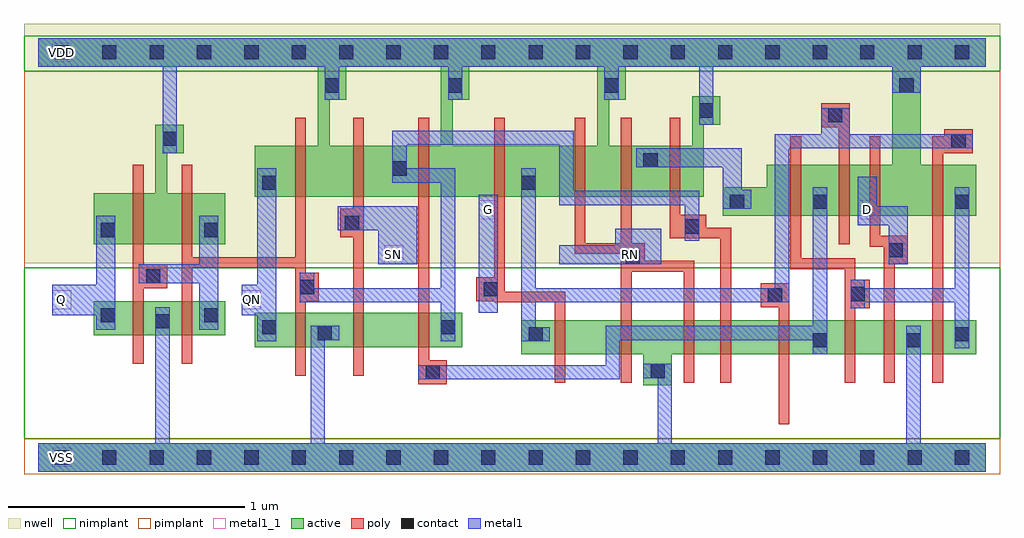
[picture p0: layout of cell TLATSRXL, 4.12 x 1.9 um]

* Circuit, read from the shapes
.subckt TLATSRXL D G Q QN RN SN VDD VSS
M1 VSS n1 Q VSS nfet w=0.145u l=0.045u
M2 n1 n2 VSS VSS nfet w=0.145u l=0.045u
M3 VSS n2 QN VSS nfet w=0.145u l=0.045u
M4 n3 SN VSS VSS nfet w=0.145u l=0.045u
M5 n2 n4 n3 VSS nfet w=0.145u l=0.045u
M6 n5 G n6 VSS nfet w=0.145u l=0.045u
M7 VSS RN n5 VSS nfet w=0.145u l=0.045u
M8 n7 RN VSS VSS nfet w=0.145u l=0.045u
M9 n8 n2 n7 VSS nfet w=0.145u l=0.045u
M10 n4 n6 n8 VSS nfet w=0.145u l=0.045u
M11 n9 n10 n4 VSS nfet w=0.145u l=0.045u
M12 VSS D n9 VSS nfet w=0.145u l=0.045u
M13 n10 n6 VSS VSS nfet w=0.145u l=0.045u
M14 VDD n1 Q VDD pfet w=0.215u l=0.045u
M15 n1 n2 VDD VDD pfet w=0.215u l=0.045u
M16 VDD n2 QN VDD pfet w=0.215u l=0.045u
M17 n2 SN VDD VDD pfet w=0.215u l=0.045u
M18 VDD n4 n2 VDD pfet w=0.215u l=0.045u
M19 n6 G VDD VDD pfet w=0.215u l=0.045u
M20 VDD RN n6 VDD pfet w=0.215u l=0.045u
M21 n11 RN VDD VDD pfet w=0.215u l=0.045u
M22 VDD n2 n11 VDD pfet w=0.215u l=0.045u
M23 n4 n10 n11 VDD pfet w=0.215u l=0.045u
M24 n12 n6 n4 VDD pfet w=0.215u l=0.045u
M25 VDD D n12 VDD pfet w=0.215u l=0.045u
M26 n10 n6 VDD VDD pfet w=0.215u l=0.045u
.ends

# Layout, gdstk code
import gdstk
lib = gdstk.Library(unit=1e-6, precision=5e-10)
def R(c, l, rs):  # rectangles x0, y0, x1, y1
    for r in rs: c.add(gdstk.rectangle(r[:2], r[2:], *l))
def A(c, l, x, y, w, h, nx, ny, dx, dy):  # array of equal rectangles
    R(c, l, [(x+i*dx, y+j*dy, x+i*dx+w, y+j*dy+h) for i in range(nx) for j in range(ny)])
def P(c, l, *ps):  # polygons
    for p in ps: c.add(gdstk.Polygon(p, *l))
active = (1, 0)
nwell = (2, 0)
poly = (3, 0)
nimplant = (4, 0)
pimplant = (5, 0)
contact = (6, 0)
metal1 = (7, 0)
metal1_1 = (7, 1)

tlatsrxl = lib.new_cell('TLATSRXL')
R(tlatsrxl, active, [(0,-0.06,4,0.06), (0.915,0.465,1.79,0.61), (0.235,0.515,0.79,0.66)])
P(tlatsrxl, active, [(0,1.77),(4,1.77),(4,1.65),(3.725,1.65),(3.725,1.235),(3.96,1.235),(3.96,1.02),(2.89,1.02),(2.89,1.14),(3.075,1.14),(3.075,1.235),(3.605,1.235),(3.605,1.65),(2.48,1.65),(2.48,1.51),(2.41,1.51),(2.41,1.315),(2.76,1.315),(2.76,1.525),(2.88,1.525),(2.88,1.405),(2.81,1.405),(2.81,1.1),(0.915,1.1),(0.915,1.315),(1.18,1.315),(1.18,1.65),(1.3,1.65),(1.3,1.51),(1.23,1.51),(1.23,1.315),(1.7,1.315),(1.7,1.65),(1.82,1.65),(1.82,1.51),(1.75,1.51),(1.75,1.315),(2.36,1.315),(2.36,1.65),(0,1.65)],
  [(0.495,1.405),(0.615,1.405),(0.615,1.285),(0.545,1.285),(0.545,1.115),(0.79,1.115),(0.79,0.9),(0.235,0.9),(0.235,1.115),(0.495,1.115)],
  [(2.04,0.58),(3.96,0.58),(3.96,0.435),(2.675,0.435),(2.675,0.305),(2.555,0.305),(2.555,0.435),(2.04,0.435)])
R(tlatsrxl, nwell, [(-0.06,0.82,4.06,1.83)])
P(tlatsrxl, poly, [(0.4,1.235),(0.445,1.235),(0.445,0.815),(0.545,0.815),(0.545,0.715),(0.445,0.715),(0.445,0.395),(0.4,0.395)],
  [(0.605,1.235),(0.65,1.235),(0.65,0.845),(1.085,0.845),(1.085,1.435),(1.13,1.435),(1.13,0.78),(1.185,0.78),(1.185,0.66),(1.13,0.66),(1.13,0.345),(1.085,0.345),(1.085,0.8),(0.65,0.8),(0.65,0.395),(0.605,0.395)],
  [(1.33,1.435),(1.375,1.435),(1.375,0.345),(1.33,0.345),(1.33,0.93),(1.275,0.93),(1.275,1.05),(1.33,1.05)],
  [(1.605,1.435),(1.65,1.435),(1.65,0.41),(1.725,0.41),(1.725,0.31),(1.605,0.31)],
  [(1.925,1.435),(1.97,1.435),(1.97,0.7),(2.225,0.7),(2.225,0.315),(2.18,0.315),(2.18,0.655),(1.925,0.655),(1.925,0.66),(1.85,0.66),(1.85,0.76),(1.925,0.76)],
  [(2.265,1.435),(2.31,1.435),(2.31,0.905),(2.46,0.905),(2.46,1.435),(2.505,1.435),(2.505,0.905),(2.56,0.905),(2.56,0.83),(2.77,0.83),(2.77,0.315),(2.725,0.315),(2.725,0.785),(2.505,0.785),(2.505,0.315),(2.46,0.315),(2.46,0.86),(2.265,0.86)],
  [(2.665,1.435),(2.71,1.435),(2.71,1.025),(2.82,1.025),(2.82,0.97),(2.925,0.97),(2.925,0.315),(2.88,0.315),(2.88,0.925),(2.665,0.925)],
  [(3.305,1.495),(3.425,1.495),(3.425,0.9),(3.38,0.9),(3.38,1.395),(3.305,1.395)],
  [(3.175,1.355),(3.22,1.355),(3.22,0.84),(3.45,0.84),(3.45,0.75),(3.51,0.75),(3.51,0.63),(3.45,0.63),(3.45,0.315),(3.405,0.315),(3.405,0.795),(3.175,0.795)],
  [(3.51,1.355),(3.555,1.355),(3.555,0.935),(3.67,0.935),(3.67,0.815),(3.615,0.815),(3.615,0.315),(3.57,0.315),(3.57,0.89),(3.51,0.89)],
  [(3.825,1.385),(3.945,1.385),(3.945,1.285),(3.82,1.285),(3.82,0.315),(3.775,0.315),(3.775,1.355),(3.825,1.355)],
  [(3.05,0.735),(3.17,0.735),(3.17,0.14),(3.125,0.14),(3.125,0.635),(3.05,0.635)])
R(tlatsrxl, nimplant, [(-0.06,0.08,4.06,0.8), (-0.06,1.63,4.06,1.78)])
R(tlatsrxl, pimplant, [(-0.06,-0.07,4.06,0.08), (-0.06,0.8,4.06,1.63)])
A(tlatsrxl, contact, 0.07, -0.03, 0.06, 0.06, 20, 2, 0.2, 1.71)
R(tlatsrxl, contact, [(1.635,0.33,1.695,0.39), (2.585,0.335,2.645,0.395), (3.27,0.465,3.33,0.525), (3.665,0.465,3.725,0.525), (2.07,0.49,2.13,0.55), (3.87,0.49,3.93,0.55), (1.18,0.495,1.24,0.555), (0.945,0.52,1.005,0.58), (1.7,0.52,1.76,0.58), (0.495,0.545,0.555,0.605), (0.265,0.57,0.325,0.63), (0.7,0.57,0.76,0.63), (3.08,0.655,3.14,0.715), (3.43,0.66,3.49,0.72), (1.88,0.68,1.94,0.74), (1.105,0.69,1.165,0.75), (0.455,0.735,0.515,0.795), (2.48,0.815,2.54,0.875), (3.59,0.845,3.65,0.905), (0.265,0.93,0.325,0.99), (0.7,0.93,0.76,0.99), (2.73,0.945,2.79,1.005), (1.295,0.96,1.355,1.02), (2.92,1.05,2.98,1.11), (3.27,1.05,3.33,1.11), (3.87,1.05,3.93,1.11), (0.945,1.13,1.005,1.19), (2.04,1.13,2.1,1.19), (1.495,1.19,1.555,1.25), (2.555,1.225,2.615,1.285), (3.855,1.305,3.915,1.365), (0.525,1.315,0.585,1.375), (3.335,1.415,3.395,1.475), (2.79,1.435,2.85,1.495), (1.21,1.54,1.27,1.6), (1.73,1.54,1.79,1.6), (2.39,1.54,2.45,1.6), (3.635,1.54,3.695,1.6)])
R(tlatsrxl, metal1, [(1.86,0.61,1.94,1.11)])
P(tlatsrxl, metal1, [(0,1.77),(4,1.77),(4,1.65),(3.725,1.65),(3.725,1.54),(3.605,1.54),(3.605,1.65),(2.85,1.65),(2.85,1.405),(2.79,1.405),(2.79,1.65),(2.45,1.65),(2.45,1.51),(2.39,1.51),(2.39,1.65),(1.79,1.65),(1.79,1.51),(1.73,1.51),(1.73,1.65),(1.27,1.65),(1.27,1.51),(1.21,1.51),(1.21,1.65),(0.585,1.65),(0.585,1.285),(0.525,1.285),(0.525,1.65),(0,1.65)],
  [(3.305,1.475),(3.425,1.475),(3.425,1.365),(3.945,1.365),(3.945,1.305),(3.17,1.305),(3.17,0.655),(2.1,0.655),(2.1,0.55),(2.16,0.55),(2.16,0.49),(2.04,0.49),(2.04,1.22),(2.1,1.22),(2.1,0.715),(3.11,0.715),(3.11,1.365),(3.305,1.365)],
  [(1.495,1.38),(2.26,1.38),(2.26,1.125),(2.79,1.125),(2.79,0.915),(2.73,0.915),(2.73,1.065),(2.2,1.065),(2.2,1.32),(1.555,1.32),(1.555,1.22),(1.76,1.22),(1.76,0.49),(1.7,0.49),(1.7,0.655),(1.105,0.655),(1.105,0.78),(1.165,0.78),(1.165,0.715),(1.7,0.715),(1.7,1.16),(1.495,1.16)],
  [(0.925,1.22),(1.005,1.22),(1.005,0.49),(0.925,0.49),(0.925,0.6),(0.86,0.6),(0.86,0.73),(0.925,0.73)],
  [(0.245,1.02),(0.325,1.02),(0.325,0.54),(0.245,0.54),(0.245,0.6),(0.06,0.6),(0.06,0.73),(0.245,0.73)],
  [(0.68,1.02),(0.76,1.02),(0.76,0.54),(0.68,0.54),(0.68,0.735),(0.425,0.735),(0.425,0.815),(0.68,0.815)],
  [(0.495,0.635),(0.555,0.635),(0.555,0.06),(1.15,0.06),(1.15,0.555),(1.27,0.555),(1.27,0.495),(1.21,0.495),(1.21,0.06),(2.615,0.06),(2.615,0.335),(2.555,0.335),(2.555,0.395),(2.675,0.395),(2.675,0.06),(3.665,0.06),(3.665,0.555),(3.725,0.555),(3.725,0.06),(4,0.06),(4,-0.06),(0,-0.06),(0,0.06),(0.495,0.06)],
  [(1.265,1.06),(1.6,1.06),(1.6,0.815),(1.435,0.815),(1.435,0.96),(1.265,0.96)],
  [(2.525,1.305),(2.97,1.305),(2.97,1.13),(3.01,1.13),(3.01,1.05),(2.89,1.05),(2.89,1.225),(2.525,1.225)],
  [(2.435,0.965),(2.63,0.965),(2.63,0.815),(2.2,0.815),(2.2,0.895),(2.435,0.895)],
  [(3.27,1.14),(3.33,1.14),(3.33,0.435),(3.27,0.435),(3.27,0.495),(2.455,0.495),(2.455,0.33),(1.605,0.33),(1.605,0.39),(2.395,0.39),(2.395,0.555),(3.27,0.555)],
  [(3.46,1.185),(3.54,1.185),(3.54,1.06),(3.67,1.06),(3.67,0.815),(3.59,0.815),(3.59,0.98),(3.46,0.98)],
  [(3.43,0.75),(3.49,0.75),(3.49,0.715),(3.87,0.715),(3.87,1.14),(3.93,1.14),(3.93,0.46),(3.87,0.46),(3.87,0.655),(3.49,0.655),(3.49,0.63),(3.43,0.63)])
R(tlatsrxl, metal1_1, [(0.06,-0.04,0.14,0.04), (0.06,0.625,0.14,0.705), (0.86,0.625,0.94,0.705), (1.46,0.815,1.54,0.895), (2.46,0.815,2.54,0.895), (1.86,1.005,1.94,1.085), (3.46,1.005,3.54,1.085), (0.06,1.67,0.14,1.75)])
tlatsrxl.add(gdstk.Label('QN', (0.9,0.665), layer=7, texttype=1))
tlatsrxl.add(gdstk.Label('Q', (0.1,0.665), layer=7, texttype=1))
tlatsrxl.add(gdstk.Label('D', (3.5,1.045), layer=7, texttype=1))
tlatsrxl.add(gdstk.Label('RN', (2.5,0.855), layer=7, texttype=1))
tlatsrxl.add(gdstk.Label('G', (1.9,1.045), layer=7, texttype=1))
tlatsrxl.add(gdstk.Label('SN', (1.5,0.855), layer=7, texttype=1))
tlatsrxl.add(gdstk.Label('VDD', (0.1,1.71), layer=7, texttype=1))
tlatsrxl.add(gdstk.Label('VSS', (0.1,0), layer=7, texttype=1))
tlatsrxl.add(gdstk.Label('TLATSRXL', (0,0), layer=63, texttype=0))

lib.write_gds('TLATSRXL.gds')
